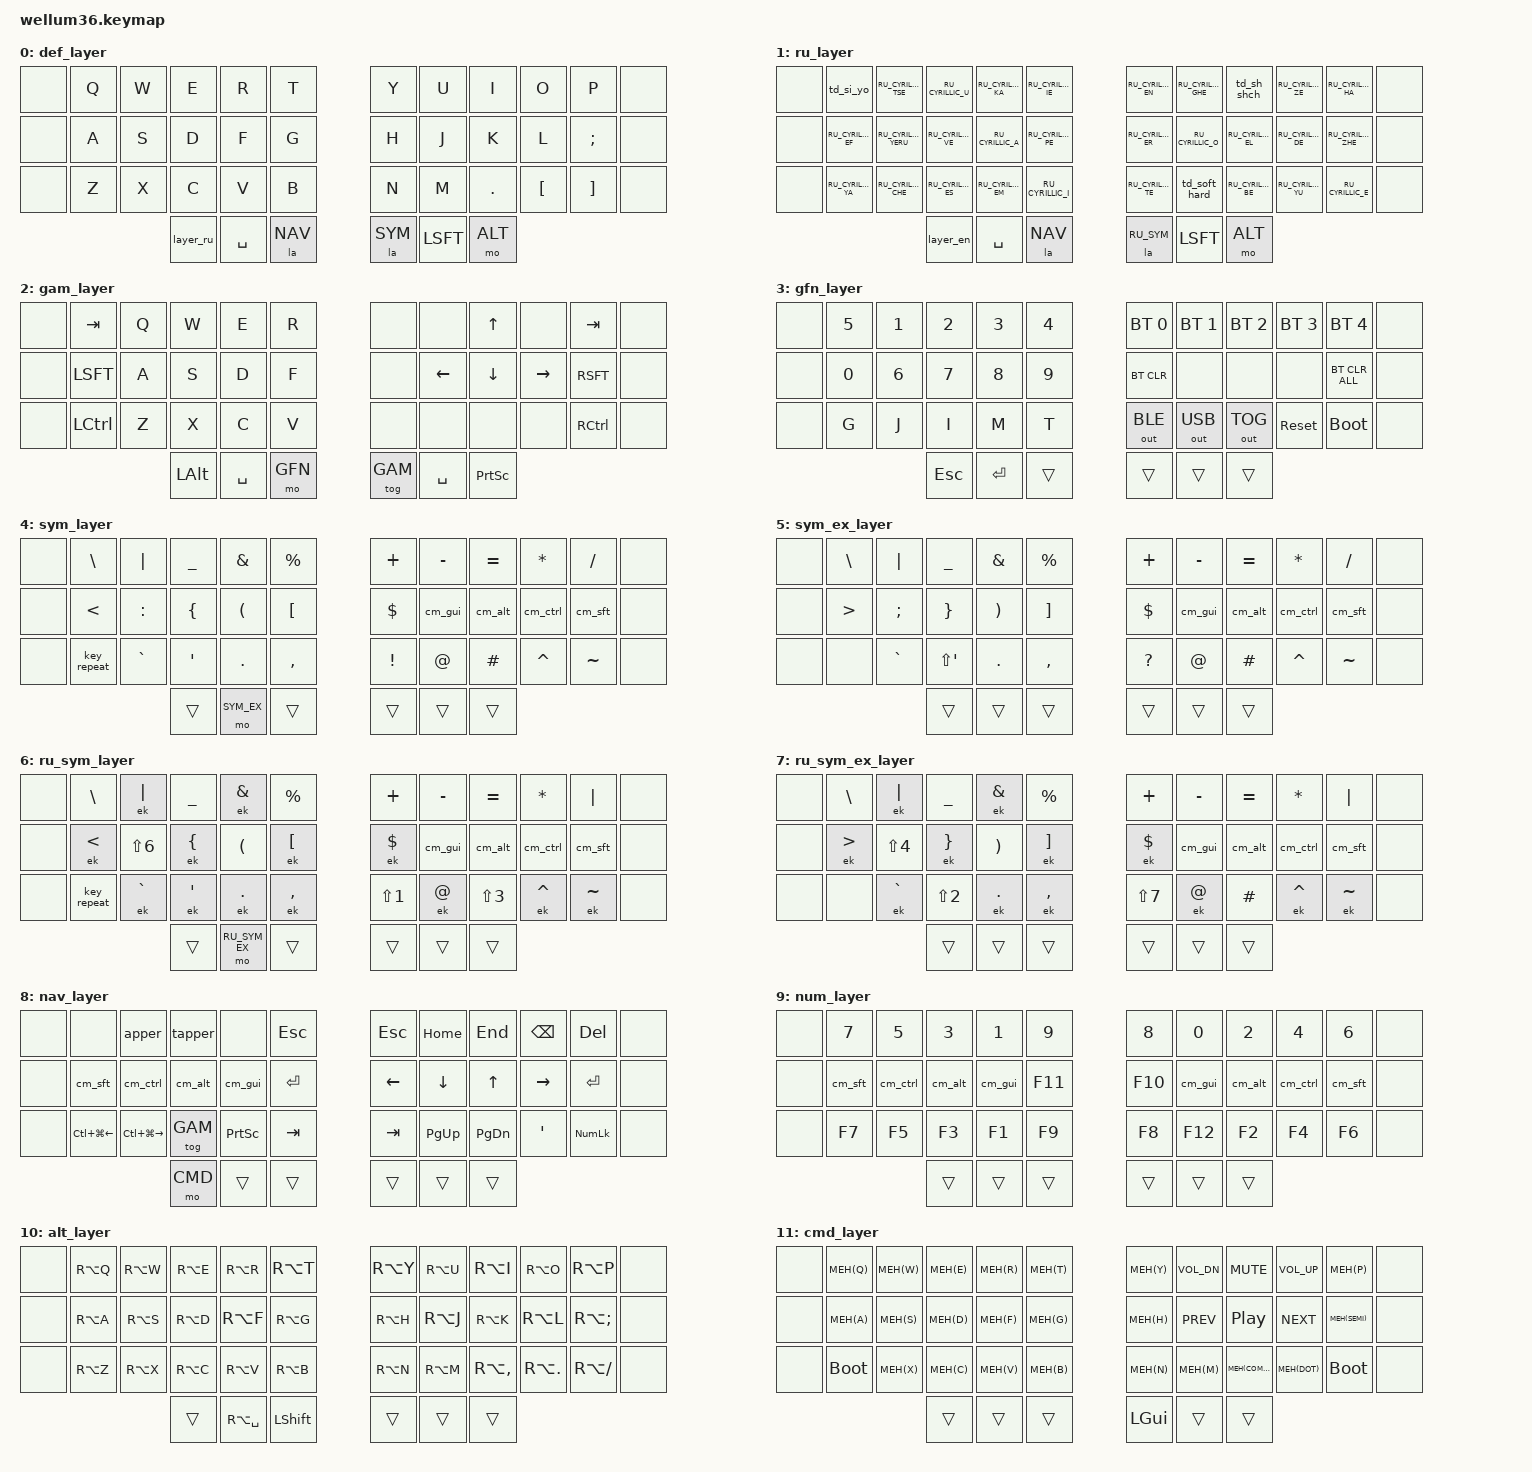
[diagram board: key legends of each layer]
#include <locale/keys_ru.h>
#include <behaviors.dtsi>
#include <dt-bindings/zmk/outputs.h>
#include <dt-bindings/zmk/keys.h>
#include <dt-bindings/zmk/bt.h>

#include <dt-bindings/zmk/ext_power.h>

#define _ &kp
#define ___ &none
#define ______ &trans

#define DEF 0
#define RU 1
#define GAM 2
#define GFN 3
#define SYM 4
#define SYM_EX 5
#define RU_SYM 6
#define RU_SYM_EX 7
#define NAV 8
#define NUM 9
#define ALT 10
#define CMD 11

#define MEH(key) LS(LC(LA(key)))

#define SQT GRAVE
#define DQT LS(APOSTROPHE)
#define GRV RA(GRAVE)
#define PIP LS(BSLH)
#define BSL RA(BSLH)
#define NBSP RA(SPACE)

#define NSPC LC(LG(RIGHT))
#define PSPC LC(LG(LEFT))

// custom implementation of modified callum-mods,
// which can be released on second keypress
// and also work with swapper and/or tabber

#define PARAM_1 0
#define PARAM_2 0

#define MACRO(NAME, COMPATIBLE, BINDING_CELLS, BINDINGS) \
    NAME: NAME { \
        compatible = COMPATIBLE; \
        #binding-cells = <BINDING_CELLS>; \
        wait-ms = <0>; \
        tap-ms = <0>; \
        bindings = \
            <BINDINGS>; \
    };

#define MACRO_NO_PARAM(NAME, BINDINGS)  MACRO(NAME, "zmk,behavior-macro"          , 0, BINDINGS)
#define MACRO_ONE_PARAM(NAME, BINDINGS) MACRO(NAME, "zmk,behavior-macro-one-param", 1, BINDINGS)
#define MACRO_TWO_PARAM(NAME, BINDINGS) MACRO(NAME, "zmk,behavior-macro-two-param", 2, BINDINGS)

#define MAX_TIMER __UINT32_MAX__ // around 50 days

#define STICKY_FOREVER(NAME, BIND) \
    NAME: NAME { \
        compatible = "zmk,behavior-sticky-key"; \
        #binding-cells = <1>; \
        bindings = <BIND>; \
        release-after-ms = <MAX_TIMER>; \
        ignore-modifiers; \
    };

#define MODMORPH(NAME, NORMAL, MORPHED, MODS, KEEP_MODS) \
    NAME: NAME { \
        compatible = "zmk,behavior-mod-morph"; \
        #binding-cells = <0>; \
        bindings = <NORMAL>, <MORPHED>; \
        mods = <(MODS)>; \
        keep-mods = <(KEEP_MODS)>; \
    };

#define KEEP_MODS_LINE(x) keep-mods = <(x)>;
#define KEEP_MODS_LINE_EMPTY()

#define MODMORPH2(NAME, NORMAL, MORPHED, MODS, KEEP_MODS) \
    NAME: NAME { \
        compatible = "zmk,behavior-mod-morph"; \
        #binding-cells = <0>; \
        bindings = <NORMAL>, <MORPHED>; \
        mods = <(MODS)>; \
        KEEP_MODS \
    };

&sk {
        release-after-ms = <60000>;
};

/ {
    behaviors {

        MACRO_ONE_PARAM(
            m_press_key_rd,
            &macro_press
                &macro_param_1to1 &kp PARAM_1
            &macro_pause_for_release
            &macro_release
                &macro_param_1to1 &kp PARAM_1
        )

        STICKY_FOREVER(sticky_forever, &kp)

        MACRO_NO_PARAM(cm_gui,  &sticky_forever LGUI)
        MACRO_NO_PARAM(cm_alt,  &sticky_forever LALT)
        MACRO_NO_PARAM(cm_ctrl, &sticky_forever LCTRL)
        MACRO_NO_PARAM(cm_sft,  &sticky_forever LSHIFT)

        MACRO_ONE_PARAM(
            la,
            &macro_press
                &macro_param_1to1 &mo PARAM_1
            &macro_pause_for_release
            &macro_release
                &macro_param_1to1 &mo PARAM_1
        )

        MACRO_ONE_PARAM(
            ek,
            &macro_wait_time 100
            &to_en
            &to_en
            &macro_wait_time 300
            &macro_param_1to1 &kp PARAM_1
            &macro_pause_for_release
            &to_ru
        )

        MACRO_NO_PARAM(tap_switch, &kp LC(TAB))
        MACRO_NO_PARAM(tap_switch_back, &kp LC(LS(TAB)))

        MACRO_NO_PARAM(app_switch, &kp LG(TAB))
        MACRO_NO_PARAM(app_switch_back, &kp LG(LS(TAB)))

        MODMORPH(
            tapper,
            &tap_switch,
            &tap_switch_back,
            MOD_LSFT,
            0
        )

        MODMORPH(
            apper,
            &app_switch,
            &app_switch_back,
            MOD_LSFT,
            0
        )

        // Tap-dance behaviors for Russian letters
        td_si_yo: tap_dance_e_yo {
            compatible = "zmk,behavior-tap-dance";
            #binding-cells = <0>;
            tapping-term-ms = <200>;
            bindings = <&kp RU_CYRILLIC_SHORT_I>, <&kp RU_CYRILLIC_IO>; // Й/Ё
        };

        td_sh_shch: tap_dance_sh_shch {
            compatible = "zmk,behavior-tap-dance";
            #binding-cells = <0>;
            tapping-term-ms = <200>;
            bindings = <&kp RU_CYRILLIC_SHA>, <&kp RU_CYRILLIC_SHCHA>; // Ш/Щ
        };

        td_soft_hard: tap_dance_soft_hard {
            compatible = "zmk,behavior-tap-dance";
            #binding-cells = <0>;
            tapping-term-ms = <200>;
            bindings = <&kp RU_CYRILLIC_SOFT_SIGN>, <&kp RU_CYRILLIC_HARD_SIGN>; // Ь/Ъ
        };
    };

    macros {
        to_ru: to_ru {
            compatible = "zmk,behavior-macro";
            #binding-cells = <0>;
            bindings = <&kp LS(LC(N2))>; // Ctrl+Shift+2
            label = "TO_RU";
        };

        to_en: to_en {
            compatible = "zmk,behavior-macro";
            #binding-cells = <0>;
            bindings = <&kp LS(LC(N1))>; // Ctrl+Shift+1
            label = "TO_EN";
        };

        layer_en: layer_en {
            compatible = "zmk,behavior-macro";
            #binding-cells = <0>;
            bindings = <&to 0 &to_en>; // switch to DEF layer + system switch
            label = "LAYER_EN";
        };

        layer_ru: layer_ru {
            compatible = "zmk,behavior-macro";
            #binding-cells = <0>;
            bindings = <&to 1 &to_ru>; // switch to RU layer + system switch
            label = "LAYER_RU";
        };
    };

    combos {
        compatible = "zmk,combos";
        
        cmben {
            bindings = <&layer_en>; // switch to English
            key-positions = <3 4>; // R+T
            layers = <0 1>; // works on DEF and RU layers
        };

        cmbru {
            bindings = <&layer_ru>; // switch to Russian
            key-positions = <5 6>; // Y+U
            layers = <0 1>; // works on DEF and RU layers
        };
    };

    conditional_layers {
        compatible = "zmk,conditional-layers";
        tri_layer {
            if-layers  = <NAV SYM>;
            then-layer = <NUM>;
        };
        tri_layer_ru {
            if-layers  = <NAV RU_SYM>;
            then-layer = <NUM>;
        };
    };
};

/ {
    keymap {
        compatible = "zmk,keymap";

        def_layer {
            bindings = <
___         _ Q          _ W          _ E          _ R         _ T             _ Y          _ U          _ I          _ O          _ P          ___
___         _ A          _ S          _ D          _ F         _ G             _ H          _ J          _ K          _ L          _ SEMI       ___
___         _ Z          _ X          _ C          _ V         _ B             _ N          _ M          _ DOT        _ LBKT       _ RBKT       ___
                                      &layer_ru    _ SPACE     &la NAV         &la SYM      _ LSFT       &mo ALT
            >;
        };

        ru_layer {
            bindings = <
___         &td_si_yo               _ RU_CYRILLIC_TSE         _ RU_CYRILLIC_U          _ RU_CYRILLIC_KA        _ RU_CYRILLIC_IE             _ RU_CYRILLIC_EN  _ RU_CYRILLIC_GHE        &td_sh_shch              _ RU_CYRILLIC_ZE        _ RU_CYRILLIC_HA         ___
___         _ RU_CYRILLIC_EF        _ RU_CYRILLIC_YERU        _ RU_CYRILLIC_VE         _ RU_CYRILLIC_A         _ RU_CYRILLIC_PE             _ RU_CYRILLIC_ER  _ RU_CYRILLIC_O          _ RU_CYRILLIC_EL         _ RU_CYRILLIC_DE        _ RU_CYRILLIC_ZHE        ___
___         _ RU_CYRILLIC_YA        _ RU_CYRILLIC_CHE         _ RU_CYRILLIC_ES         _ RU_CYRILLIC_EM        _ RU_CYRILLIC_I              _ RU_CYRILLIC_TE  &td_soft_hard            _ RU_CYRILLIC_BE         _ RU_CYRILLIC_YU        _ RU_CYRILLIC_E          ___
                                                                                       &layer_en               _ SPACE     &la NAV         &la RU_SYM   _ LSFT       &mo ALT
            >;
        };

        gam_layer {
            bindings = <
___         _ TAB        _ Q          _ W          _ E         _ R             ___          ___          _ UP         ___          _ TAB        ___
___         _ LSFT       _ A          _ S          _ D         _ F             ___          _ LEFT       _ DOWN       _ RIGHT      _ RSFT       ___
___         _ LCTRL      _ Z          _ X          _ C         _ V             ___          ___          ___          ___          _ RCTRL      ___
                                      _ LALT       _ SPACE     &mo GFN         &tog GAM     _ SPACE      _ PSCRN
            >;
        };

        gfn_layer {
            bindings = <
___         _ N5         _ N1         _ N2         _ N3        _ N4            &bt BT_SEL 0 &bt BT_SEL 1 &bt BT_SEL 2 &bt BT_SEL 3 &bt BT_SEL 4 ___
___         _ N0         _ N6         _ N7         _ N8        _ N9            &bt BT_CLR   ___          ___          ___          &bt BT_CLR_ALL ___
___         _ G          _ J          _ I          _ M         _ T             &out OUT_BLE &out OUT_USB &out OUT_TOG &sys_reset   &bootloader  ___
                                      _ ESC        _ RET       ______          ______       ______       ______
            >;
        };

        sym_layer {
            bindings = <
___         _ BSLH       _ PIPE       _ UNDER      _ AMPS       _ PRCNT         _ PLUS       _ MINUS      _ EQUAL      _ STAR       _ FSLH       ___
___         _ LT         _ COLON      _ LBRC       _ LPAR       _ LBKT          _ DLLR       &cm_gui      &cm_alt      &cm_ctrl     &cm_sft      ___
___         &key_repeat  _ GRAVE      _ APOS       _ DOT        _ COMMA         _ EXCL       _ AT         _ HASH       _ CARET      _ TILDE      ___
                                      ______       &mo SYM_EX  ______          ______       ______       ______
            >;
        };

        sym_ex_layer {
            bindings = <
___         _ BSLH       _ PIPE       _ UNDER      _ AMPS       _ PRCNT         _ PLUS       _ MINUS      _ EQUAL      _ STAR       _ FSLH       ___
___         _ GT         _ SEMI       _ RBRC       _ RPAR       _ RBKT          _ DLLR       &cm_gui      &cm_alt      &cm_ctrl     &cm_sft      ___
___         ___          _ GRAVE      _ DQT        _ DOT        _ COMMA         _ QMARK      _ AT         _ HASH       _ CARET      _ TILDE      ___
                                      ______       ______      ______          ______       ______       ______
            >;
        };

        ru_sym_layer {
            bindings = <
___         _ BSLH       &ek PIPE     _ UNDER      &ek AMPS       _ PRCNT         _ PLUS       _ MINUS      _ EQUAL      _ STAR       _ PIPE       ___
___         &ek LT       _ LS(N6)     &ek LBRC     _ LPAR         &ek LBKT        &ek DLLR     &cm_gui      &cm_alt      &cm_ctrl     &cm_sft      ___
___         &key_repeat  &ek GRAVE    &ek APOS     &ek DOT        &ek COMMA       _ LS(N1)     &ek AT       _ LS(N3)     &ek CARET    &ek TILDE    ___
                                      ______       &mo RU_SYM_EX  ______          ______       ______       ______
            >;
        };

        ru_sym_ex_layer {
            bindings = <
___         _ BSLH       &ek PIPE     _ UNDER      &ek AMPS     _ PRCNT         _ PLUS       _ MINUS      _ EQUAL      _ STAR       _ PIPE       ___
___         &ek GT       _ LS(N4)     &ek RBRC     _ RPAR       &ek RBKT        &ek DLLR     &cm_gui      &cm_alt      &cm_ctrl     &cm_sft      ___
___         ___          &ek GRAVE    _ LS(N2)     &ek DOT      &ek COMMA       _ LS(N7)     &ek AT       _ HASH       &ek CARET    &ek TILDE    ___
                                      ______       ______      ______          ______       ______       ______
            >;
        };

        nav_layer {
            bindings = <
___         ___          &apper       &tapper      ___         _ ESC           _ ESC        _ HOME       _ END        _ BSPC       _ DEL        ___
___         &cm_sft      &cm_ctrl     &cm_alt      &cm_gui     _ RET           _ LEFT       _ DOWN       _ UP         _ RIGHT      _ RET        ___
___         _ PSPC       _ NSPC       &tog GAM     _ PSCRN     _ TAB           _ TAB        _ PG_UP      _ PG_DN      _ APOS       _ KP_NUM     ___
                                      &mo CMD      ______      ______          ______       ______       ______
            >;
        };

        num_layer {
            bindings = <
___         _ N7         _ N5         _ N3         _ N1        _ N9            _ N8         _ N0         _ N2         _ N4         _ N6         ___
___         &cm_sft      &cm_ctrl     &cm_alt      &cm_gui     _ F11           _ F10        &cm_gui      &cm_alt      &cm_ctrl     &cm_sft      ___
___         _ F7         _ F5         _ F3         _ F1        _ F9            _ F8         _ F12        _ F2         _ F4         _ F6         ___
                                      ______       ______      ______          ______       ______       ______
            >;
        };

        alt_layer {
            bindings = <
___         _ RA(Q)      _ RA(W)      _ RA(E)      _ RA(R)     _ RA(T)         _ RA(Y)      _ RA(U)      _ RA(I)      _ RA(O)      _ RA(P)      ___
___         _ RA(A)      _ RA(S)      _ RA(D)      _ RA(F)     _ RA(G)         _ RA(H)      _ RA(J)      _ RA(K)      _ RA(L)      _ RA(SEMI)   ___
___         _ RA(Z)      _ RA(X)      _ RA(C)      _ RA(V)     _ RA(B)         _ RA(N)      _ RA(M)      _ RA(COMMA)  _ RA(DOT)    _ RA(FSLH)   ___
                                      ______       _ NBSP      _ LSHFT         ______       ______       ______
            >;
        };

        cmd_layer {
            bindings = <
___         _ MEH(Q)     _ MEH(W)     _ MEH(E)     _ MEH(R)    _ MEH(T)        _ MEH(Y)     _ C_VOL_DN   _ C_MUTE     _ C_VOL_UP   _ MEH(P)     ___
___         _ MEH(A)     _ MEH(S)     _ MEH(D)     _ MEH(F)    _ MEH(G)        _ MEH(H)     _ C_PREV     _ C_PP       _ C_NEXT     _ MEH(SEMI)  ___
___         &bootloader  _ MEH(X)     _ MEH(C)     _ MEH(V)    _ MEH(B)        _ MEH(N)     _ MEH(M)     _ MEH(COMMA) _ MEH(DOT)   &bootloader  ___
                                      ______       ______      ______          _ LGUI       ______       ______
            >;
        };
    };
};
